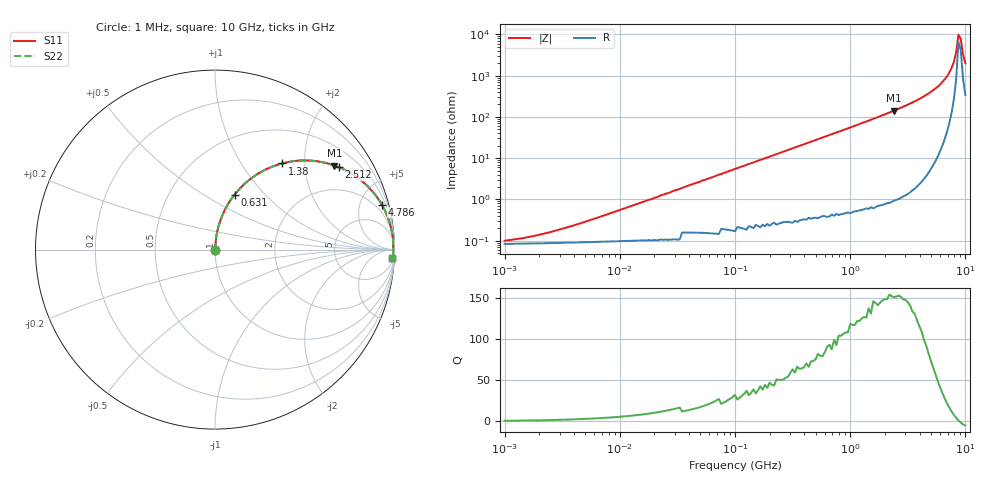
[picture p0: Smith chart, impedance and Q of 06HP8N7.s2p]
# MHz S MA R 50
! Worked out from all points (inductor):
!   201 points, 1 MHz to 10 GHz, reference 50 ohm
!   read as one part in series: L = 8.7 nH near 5.248 MHz
!   highest Q = 153 at 2.399 GHz (marker M1), where L = 9.39 nH
!   self-resonance near 8.71 GHz
!   S11 on the Smith chart (normalised r, x): 1 MHz: 1.00, +0.00; 631 MHz: 1.01, +0.69; 1.38 GHz: 1.01, +1.55; 2.512 GHz: 1.02, +2.98; 4.786 GHz: 1.10, +7.38; 10 GHz: 8, -39
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1  0.000868 39.0  0.999 -0.0  0.999 -0.0  0.000868 39.0
2.089  0.001357 57.2  0.999 -0.1  0.999 -0.1  0.001357 57.2
4.786  0.002744 72.1  0.999 -0.1  0.999 -0.1  0.002744 72.1
21.878  0.012 83.7  0.999 -0.7  0.999 -0.7  0.012 83.7
104.713  0.057 84.8  0.996 -3.3  0.996 -3.3  0.057 84.8
239.883  0.13 81.4  0.989 -7.5  0.989 -7.5  0.13 81.4
478.63  0.253 74.6  0.964 -14.7  0.964 -14.7  0.253 74.6
630.957  0.326 70.3  0.942 -19.0  0.942 -19.0  0.326 70.3
912.011  0.448 62.8  0.89 -26.6  0.89 -26.6  0.448 62.8
1380.384  0.609 52.0  0.788 -37.6  0.788 -37.6  0.609 52.0
2187.762  0.784 38.0  0.616 -51.6  0.616 -51.6  0.784 38.0
2398.833  0.814 35.1  0.575 -54.5  0.575 -54.5  0.814 35.1
2511.886  0.828 33.7  0.555 -55.9  0.555 -55.9  0.828 33.7
4786.301  0.962 15.1  0.261 -74.2  0.261 -74.2  0.962 15.1
6025.596  0.983 9.3  0.161 -79.4  0.161 -79.4  0.983 9.3
7244.36  0.992 4.8  0.084 -81.8  0.084 -81.8  0.992 4.8
7943.282  0.993 2.6  0.046 -80.2  0.046 -80.2  0.993 2.6
8317.638  0.993 1.5  0.027 -75.4  0.027 -75.4  0.993 1.5
8709.636  0.993 0.4  0.01 -48.7  0.01 -48.7  0.993 0.4
9120.108  0.993 -0.6  0.013 56.5  0.013 56.5  0.993 -0.6
9549.926  0.992 -1.7  0.031 73.7  0.031 73.7  0.992 -1.7
10000  0.99 -2.8  0.05 77.4  0.05 77.4  0.99 -2.8
